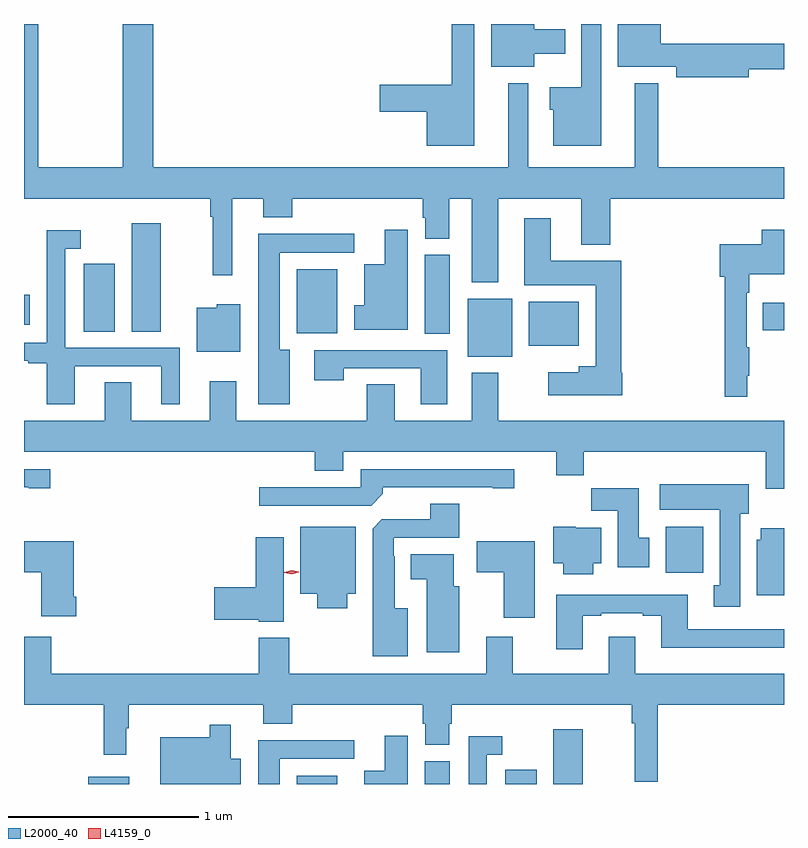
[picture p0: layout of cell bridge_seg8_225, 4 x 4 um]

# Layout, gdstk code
import gdstk
lib = gdstk.Library(unit=1e-6, precision=1e-09)
def R(c, l, rs):  # rectangles x0, y0, x1, y1
    for r in rs: c.add(gdstk.rectangle(r[:2], r[2:], *l))
def P(c, l, *ps):  # polygons
    for p in ps: c.add(gdstk.Polygon(p, *l))
L2000_40 = (2000, 40)
L4159_0 = (4159, 0)

bridge_seg8_225 = lib.new_cell('bridge_seg8_225')
R(bridge_seg8_225, L2000_40, [(129.614,1108.091,129.829,1108.129), (130.712,1108.091,130.924,1108.135), (131.384,1108.091,131.518,1108.212), (131.81,1108.091,131.974,1108.165), (132.062,1108.091,132.217,1108.378), (132.653,1109.204,132.85,1109.446), (131.612,1110.341,131.845,1110.646), (131.933,1110.398,132.196,1110.628), (131.384,1110.46,131.518,1110.876), (130.712,1110.464,130.924,1110.799), (129.59,1110.472,129.754,1110.829), (129.842,1110.472,129.997,1111.042), (133.165,1110.478,133.276,1110.625), (129.276,1110.509,129.307,1110.667)])
P(bridge_seg8_225, L2000_40, [(132.313,1112.091),(132.209,1112.091),(132.209,1111.759),(132.044,1111.759),(132.044,1111.641),(132.062,1111.641),(132.062,1111.451),(132.313,1111.451)],
  [(129.956,1112.091),(129.796,1112.091),(129.796,1111.336),(129.351,1111.336),(129.351,1112.091),(129.276,1112.091),(129.276,1111.172),(130.255,1111.172),(130.255,1111.076),(130.27,1111.076),(130.27,1110.768),(130.372,1110.768),(130.372,1111.172),(130.535,1111.172),(130.535,1111.073),(130.688,1111.073),(130.688,1111.172),(131.375,1111.172),(131.375,1111.071),(131.387,1111.071),(131.387,1110.961),(131.515,1110.961),(131.515,1111.172),(131.633,1111.172),(131.633,1110.731),(131.773,1110.731),(131.773,1111.172),(132.209,1111.172),(132.209,1110.929),(132.362,1110.929),(132.362,1111.172),(133.276,1111.172),(133.276,1111.336),(132.613,1111.336),(132.613,1111.78),(132.491,1111.78),(132.491,1111.336),(131.929,1111.336),(131.929,1111.78),(131.825,1111.78),(131.825,1111.336),(129.956,1111.336)],
  [(131.962,1111.934),(132.124,1111.934),(132.124,1112.064),(131.962,1112.064),(131.962,1112.091),(131.735,1112.091),(131.735,1111.865),(131.962,1111.865)],
  [(131.647,1112.091),(131.526,1112.091),(131.526,1111.772),(131.148,1111.772),(131.148,1111.63),(131.396,1111.63),(131.396,1111.451),(131.647,1111.451)],
  [(133.09,1111.852),(133.276,1111.852),(133.276,1111.988),(132.628,1111.988),(132.628,1112.091),(132.401,1112.091),(132.401,1111.865),(132.71,1111.865),(132.71,1111.81),(133.09,1111.81)],
  [(132.424,1110.255),(132.419,1110.255),(132.419,1110.844),(132.049,1110.844),(132.049,1111.069),(131.909,1111.069),(131.909,1110.716),(132.284,1110.716),(132.284,1110.289),(132.197,1110.289),(132.197,1110.259),(132.036,1110.259),(132.036,1110.137),(132.424,1110.137)],
  [(133.082,1110.241),(133.093,1110.241),(133.093,1110.389),(133.08,1110.389),(133.08,1110.677),(133.093,1110.677),(133.093,1110.773),(133.276,1110.773),(133.276,1111.009),(133.16,1111.009),(133.16,1110.931),(132.938,1110.931),(132.938,1110.761),(132.964,1110.761),(132.964,1110.129),(133.082,1110.129)],
  [(131.296,1111.009),(131.174,1111.009),(131.174,1110.826),(131.066,1110.826),(131.066,1110.61),(131.015,1110.61),(131.015,1110.482),(131.296,1110.482)],
  [(129.544,1110.291),(129.998,1110.291),(129.998,1110.09),(130.096,1110.09),(130.096,1110.387),(129.492,1110.387),(129.492,1110.909),(129.574,1110.909),(129.574,1111.006),(129.395,1111.006),(129.395,1110.763),(129.396,1110.763),(129.396,1110.414),(129.276,1110.414),(129.276,1110.318),(129.299,1110.318),(129.299,1110.306),(129.395,1110.306),(129.395,1110.09),(129.544,1110.09)],
  [(130.675,1110.376),(130.621,1110.376),(130.621,1110.888),(131.014,1110.888),(131.014,1110.986),(130.508,1110.986),(130.508,1110.09),(130.675,1110.09)],
  [(130.414,1110.616),(130.29,1110.616),(130.29,1110.598),(130.184,1110.598),(130.184,1110.365),(130.414,1110.365)],
  [(131.503,1110.375),(130.803,1110.375),(130.803,1110.216),(130.959,1110.216),(130.959,1110.279),(131.363,1110.279),(131.363,1110.09),(131.503,1110.09)],
  [(133.276,1110.004),(131.773,1110.004),(131.773,1110.256),(131.633,1110.256),(131.633,1110.004),(131.227,1110.004),(131.227,1110.194),(131.08,1110.194),(131.08,1110.004),(130.393,1110.004),(130.393,1110.211),(130.253,1110.211),(130.253,1110.004),(129.841,1110.004),(129.841,1110.206),(129.701,1110.206),(129.701,1110.004),(129.276,1110.004),(129.276,1109.84),(130.805,1109.84),(130.805,1109.741),(130.957,1109.741),(130.957,1109.84),(132.077,1109.84),(132.077,1109.716),(132.221,1109.716),(132.221,1109.84),(133.181,1109.84),(133.181,1109.646),(133.276,1109.646)],
  [(129.415,1109.748),(129.276,1109.748),(129.276,1109.652),(129.302,1109.652),(129.302,1109.647),(129.415,1109.647)],
  [(131.165,1109.618),(131.165,1109.652),(131.744,1109.652),(131.744,1109.647),(131.857,1109.647),(131.857,1109.748),(131.049,1109.748),(131.049,1109.652),(130.515,1109.652),(130.515,1109.556),(131.103,1109.556)],
  [(133.045,1109.514),(133.09,1109.514),(133.09,1109.668),(132.621,1109.668),(132.621,1109.534),(132.938,1109.534),(132.938,1109.138),(132.905,1109.138),(132.905,1109.025),(133.045,1109.025)],
  [(132.568,1109.388),(132.511,1109.388),(132.511,1109.647),(132.262,1109.647),(132.262,1109.528),(132.401,1109.528),(132.401,1109.232),(132.568,1109.232)],
  [(131.296,1109.017),(131.227,1109.017),(131.227,1109.291),(131.223,1109.291),(131.223,1109.388),(131.567,1109.388),(131.567,1109.567),(131.414,1109.567),(131.414,1109.484),(131.16,1109.484),(131.111,1109.435),(131.111,1108.763),(131.296,1108.763)],
  [(132.271,1109.252),(132.313,1109.252),(132.313,1109.44),(132.18,1109.44),(132.18,1109.446),(132.062,1109.446),(132.062,1109.252),(132.113,1109.252),(132.113,1109.195),(132.271,1109.195)],
  [(130.978,1109.093),(131.023,1109.093),(131.023,1109.446),(130.73,1109.446),(130.73,1109.093),(130.82,1109.093),(130.82,1109.015),(130.978,1109.015)],
  [(133.276,1109.437),(133.154,1109.437),(133.154,1109.376),(133.133,1109.376),(133.133,1109.084),(133.276,1109.084)],
  [(130.642,1109.389),(130.496,1109.389),(130.496,1109.126),(130.278,1109.126),(130.278,1108.955),(130.512,1108.955),(130.512,1108.946),(130.642,1108.946)],
  [(129.551,1109.077),(129.538,1109.077),(129.538,1109.368),(129.276,1109.368),(129.276,1109.206),(129.368,1109.206),(129.368,1108.973),(129.551,1108.973)],
  [(131.965,1109.368),(131.658,1109.368),(131.658,1109.206),(131.801,1109.206),(131.801,1108.965),(131.965,1108.965)],
  [(131.566,1109.133),(131.539,1109.133),(131.539,1109.299),(131.312,1109.299),(131.312,1109.168),(131.396,1109.168),(131.396,1108.785),(131.566,1108.785)],
  [(132.217,1108.977),(132.313,1108.977),(132.313,1108.989),(132.533,1108.989),(132.533,1108.977),(132.629,1108.977),(132.629,1108.808),(133.276,1108.808),(133.276,1108.905),(132.769,1108.905),(132.769,1109.086),(132.077,1109.086),(132.077,1108.8),(132.217,1108.8)],
  [(132.611,1108.508),(133.276,1108.508),(133.276,1108.672),(132.493,1108.672),(132.493,1108.867),(132.353,1108.867),(132.353,1108.672),(131.848,1108.672),(131.848,1108.867),(131.708,1108.867),(131.708,1108.672),(130.671,1108.672),(130.671,1108.861),(130.511,1108.861),(130.511,1108.672),(129.419,1108.672),(129.419,1108.867),(129.276,1108.867),(129.276,1108.508),(129.697,1108.508),(129.697,1108.245),(129.814,1108.245),(129.814,1108.385),(129.826,1108.385),(129.826,1108.508),(130.535,1108.508),(130.535,1108.409),(130.688,1108.409),(130.688,1108.508),(131.375,1108.508),(131.375,1108.407),(131.387,1108.407),(131.387,1108.297),(131.515,1108.297),(131.515,1108.407),(131.528,1108.407),(131.528,1108.508),(132.475,1108.508),(132.475,1108.412),(132.49,1108.412),(132.49,1108.104),(132.611,1108.104)],
  [(130.417,1108.225),(130.363,1108.225),(130.363,1108.402),(130.254,1108.402),(130.254,1108.336),(129.992,1108.336),(129.992,1108.091),(130.417,1108.091)],
  [(131.296,1108.345),(131.174,1108.345),(131.174,1108.162),(131.066,1108.162),(131.066,1108.091),(131.296,1108.091)],
  [(131.712,1108.245),(131.794,1108.245),(131.794,1108.342),(131.616,1108.342),(131.616,1108.091),(131.712,1108.091)],
  [(130.621,1108.224),(131.014,1108.224),(131.014,1108.322),(130.508,1108.322),(130.508,1108.091),(130.621,1108.091)])
P(bridge_seg8_225, L4159_0, [(130.685,1109.196),(130.647,1109.204),(130.647,1109.205),(130.647,1109.205),(130.685,1109.216),(130.723,1109.207),(130.723,1109.207),(130.723,1109.206)])

lib.write_gds('bridge_seg8_225.gds')
